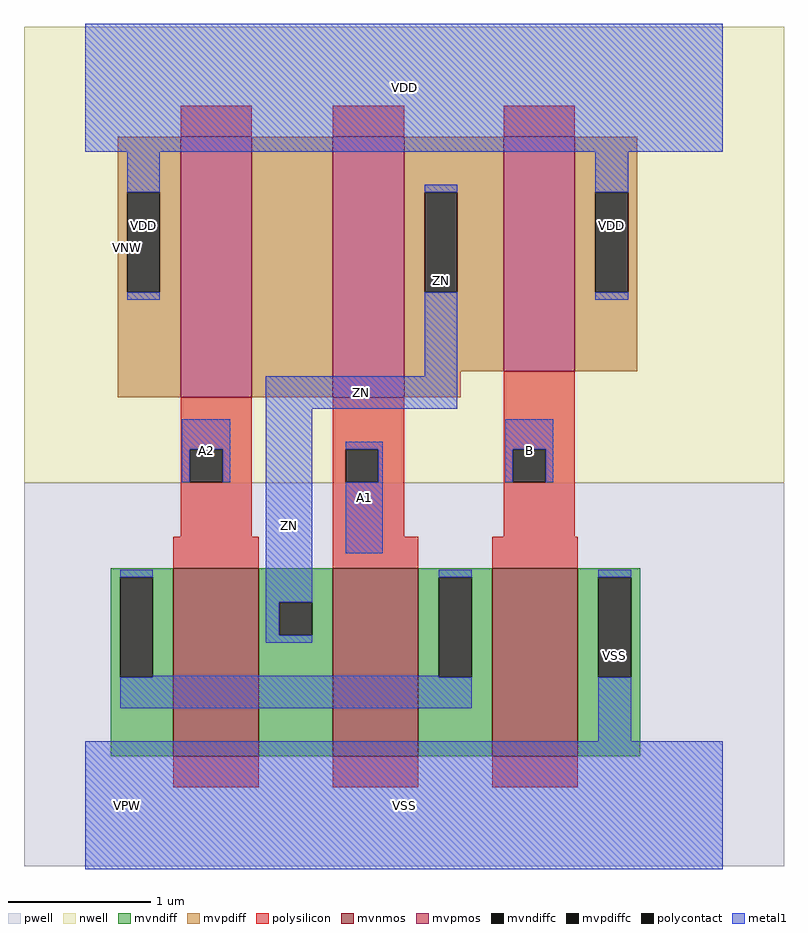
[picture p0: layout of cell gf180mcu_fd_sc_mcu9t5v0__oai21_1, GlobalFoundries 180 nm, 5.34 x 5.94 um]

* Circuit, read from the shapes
.subckt gf180mcu_fd_sc_mcu9t5v0__oai21_1 A1 A2 B ZN VDD VNW VPW VSS
XM1 ZN A2 n1 VPW nfet_06v0 w=1.32u l=0.6u
XM2 n1 A1 ZN VPW nfet_06v0 w=1.32u l=0.6u
XM3 VSS B n1 VPW nfet_06v0 w=1.32u l=0.6u
XM4 n2 A2 VDD VNW pfet_06v0 w=1.83u l=0.5u
XM5 ZN A1 n2 VNW pfet_06v0 w=1.83u l=0.5u
XM6 VDD B ZN VNW pfet_06v0 w=1.645u l=0.5u
.ends

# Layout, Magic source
magic
tech gf180mcuD
magscale 1 10
<< nwell >>
rect -86 453 982 1094
<< pwell >>
rect -86 -86 982 453
<< mvnmos >>
rect 124 69 244 333
rect 348 69 468 333
rect 572 69 692 333
<< mvpmos >>
rect 134 573 234 939
rect 348 573 448 939
rect 588 610 688 939
<< mvndiff >>
rect 36 320 124 333
rect 36 180 49 320
rect 95 180 124 320
rect 36 69 124 180
rect 244 285 348 333
rect 244 239 273 285
rect 319 239 348 285
rect 244 69 348 239
rect 468 320 572 333
rect 468 180 497 320
rect 543 180 572 320
rect 468 69 572 180
rect 692 320 780 333
rect 692 180 721 320
rect 767 180 780 320
rect 692 69 780 180
<< mvpdiff >>
rect 46 861 134 939
rect 46 721 59 861
rect 105 721 134 861
rect 46 573 134 721
rect 234 573 348 939
rect 448 861 588 939
rect 448 721 477 861
rect 523 721 588 861
rect 448 610 588 721
rect 688 861 776 939
rect 688 721 717 861
rect 763 721 776 861
rect 688 610 776 721
rect 448 573 528 610
<< mvndiffc >>
rect 49 180 95 320
rect 273 239 319 285
rect 497 180 543 320
rect 721 180 767 320
<< mvpdiffc >>
rect 59 721 105 861
rect 477 721 523 861
rect 717 721 763 861
<< polysilicon >>
rect 134 939 234 983
rect 348 939 448 983
rect 588 939 688 983
rect 134 500 234 573
rect 134 454 147 500
rect 193 454 234 500
rect 134 377 234 454
rect 348 500 448 573
rect 348 454 366 500
rect 412 454 448 500
rect 348 377 448 454
rect 588 500 688 610
rect 588 454 601 500
rect 647 454 688 500
rect 588 377 688 454
rect 124 333 244 377
rect 348 333 468 377
rect 572 333 692 377
rect 124 25 244 69
rect 348 25 468 69
rect 572 25 692 69
<< polycontact >>
rect 147 454 193 500
rect 366 454 412 500
rect 601 454 647 500
<< metal1 >>
rect 0 918 896 1098
rect 59 861 105 918
rect 59 710 105 721
rect 477 861 523 872
rect 477 603 523 721
rect 717 861 763 918
rect 717 710 763 721
rect 254 557 523 603
rect 136 500 204 542
rect 136 454 147 500
rect 193 454 204 500
rect 49 320 95 331
rect 254 285 319 557
rect 366 500 418 511
rect 412 454 418 500
rect 590 500 658 542
rect 590 454 601 500
rect 647 454 658 500
rect 366 354 418 454
rect 254 239 273 285
rect 254 228 319 239
rect 497 320 543 331
rect 95 180 497 182
rect 49 136 543 180
rect 721 320 767 331
rect 721 90 767 180
rect 0 -90 896 90
<< labels >>
flabel metal1 s 366 354 418 511 0 FreeSans 200 0 0 0 A1
port 1 nsew default input
flabel metal1 s 136 454 204 542 0 FreeSans 200 0 0 0 A2
port 2 nsew default input
flabel metal1 s 590 454 658 542 0 FreeSans 200 0 0 0 B
port 3 nsew default input
flabel metal1 s 0 918 896 1098 0 FreeSans 200 0 0 0 VDD
port 5 nsew power bidirectional abutment
flabel metal1 s 721 90 767 331 0 FreeSans 200 0 0 0 VSS
port 8 nsew ground bidirectional abutment
flabel metal1 s 477 603 523 872 0 FreeSans 200 0 0 0 ZN
port 4 nsew default output
flabel nwell s 10 734 110 834 0 FreeSans 400 0 0 0 VNW
port 6 nsew power bidirectional
flabel pwell s 10 -50 110 50 0 FreeSans 400 0 0 0 VPW
port 7 nsew ground bidirectional
rlabel metal1 s 254 557 523 603 1 ZN
port 4 nsew default output
rlabel metal1 s 254 228 319 557 1 ZN
port 4 nsew default output
rlabel metal1 s 717 710 763 918 1 VDD
port 5 nsew power bidirectional abutment
rlabel metal1 s 59 710 105 918 1 VDD
port 5 nsew power bidirectional abutment
rlabel metal1 s 0 -90 896 90 1 VSS
port 8 nsew ground bidirectional abutment
<< properties >>
string FIXED_BBOX 0 0 896 1008
string GDS_END 117422
string GDS_FILE $PDKPATH/libs.ref/gf180mcu_fd_sc_mcu9t5v0/gds/gf180mcu_fd_sc_mcu9t5v0.gds
string GDS_START 114092
string LEFclass core
string LEFsite GF018hv5v_green_sc9
string LEFsymmetry X Y
<< end >>
